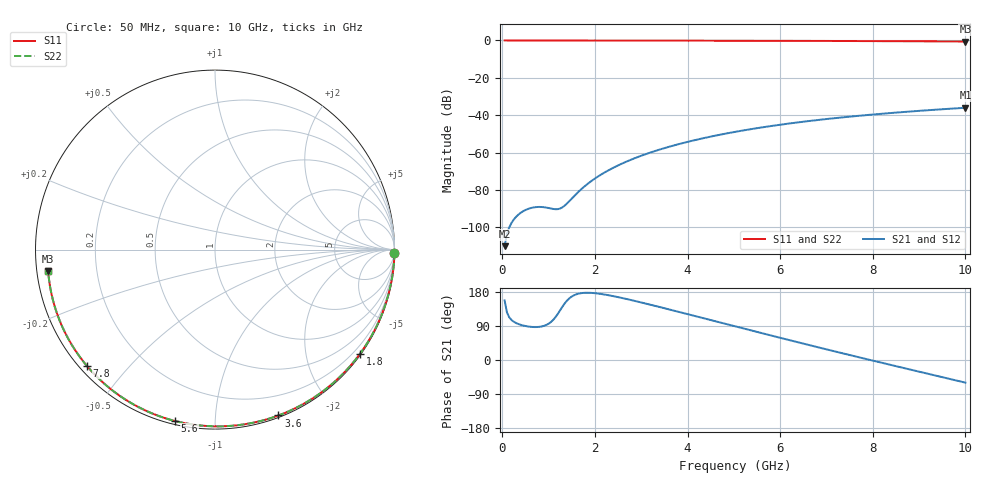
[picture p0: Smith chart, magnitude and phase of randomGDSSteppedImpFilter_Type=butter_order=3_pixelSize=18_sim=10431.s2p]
! freq	dB(S11)	phase(S11)	dB(S12)	phase(S12)
!  dB(S21)	phase(S21)	dB(S22)	phase(S22)
!S-par simulation data
#  GHz  S  DB  R 50
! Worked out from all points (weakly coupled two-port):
!   200 points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, 50 MHz to 10 GHz, reference 50 ohm
!   highest |S21| = -36.02 dB at 10 GHz (marker M1); lowest = -110.1 dB at 50 MHz (marker M2)
!   lowest |S11| = -0.6 dB at 10 GHz (marker M3), VSWR 30.94, Z = 1.62 - j3.25 ohm
!   |S11| at or under -10 dB: nowhere
!   |S22| runs from -0.6 to 0.0 dB; largest |S21 - S12| = 0
!   S11 on the Smith chart (normalised r, x): 50 MHz: open; 1.8 GHz: 0.03, -3.11; 3.6 GHz: 0.02, -1.45; 5.6 GHz: 0.02, -0.79; 7.8 GHz: 0.02, -0.39; 10 GHz: 0.03, -0.06
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0.05  -0.00 -1.0  -110.06 157.2  -110.06 157.2  -0.00 -1.0
0.8  -0.02 -16.0  -89.06 87.5  -89.06 87.5  -0.02 -16.0
1.2  -0.03 -23.9  -90.24 121.9  -90.24 121.9  -0.03 -23.9
1.65  -0.04 -32.7  -80.84 175.1  -80.84 175.1  -0.04 -32.7
1.7  -0.04 -33.7  -79.70 176.3  -79.70 176.3  -0.04 -33.7
1.75  -0.04 -34.7  -78.61 177.0  -78.61 177.0  -0.04 -34.7
1.8  -0.05 -35.6  -77.57 177.4  -77.57 177.4  -0.05 -35.6
1.95  -0.05 -38.5  -74.74 176.9  -74.74 176.9  -0.05 -38.5
2.1  -0.05 -41.4  -72.26 174.8  -72.26 174.8  -0.05 -41.4
2.45  -0.06 -48.0  -67.45 167.2  -67.45 167.2  -0.06 -48.0
2.9  -0.07 -56.4  -62.61 154.8  -62.61 154.8  -0.07 -56.4
3.4  -0.09 -65.5  -58.35 139.8  -58.35 139.8  -0.09 -65.5
3.6  -0.09 -69.1  -56.89 133.6  -56.89 133.6  -0.09 -69.1
4.3  -0.12 -81.4  -52.51 111.7  -52.51 111.7  -0.12 -81.4
5.05  -0.14 -94.1  -48.80 88.1  -48.80 88.1  -0.14 -94.1
5.6  -0.17 -103.1  -46.53 71.0  -46.53 71.0  -0.17 -103.1
6.15  -0.20 -112.0  -44.58 54.0  -44.58 54.0  -0.20 -112.0
6.7  -0.23 -120.7  -42.88 37.2  -42.88 37.2  -0.23 -120.7
7.8  -0.32 -137.9  -40.07 4.2  -40.07 4.2  -0.32 -137.9
8.35  -0.37 -146.4  -38.89 -11.9  -38.89 -11.9  -0.37 -146.4
9.2  -0.46 -159.7  -37.30 -36.5  -37.30 -36.5  -0.46 -159.7
10  -0.56 -172.6  -36.02 -59.8  -36.02 -59.8  -0.56 -172.6
